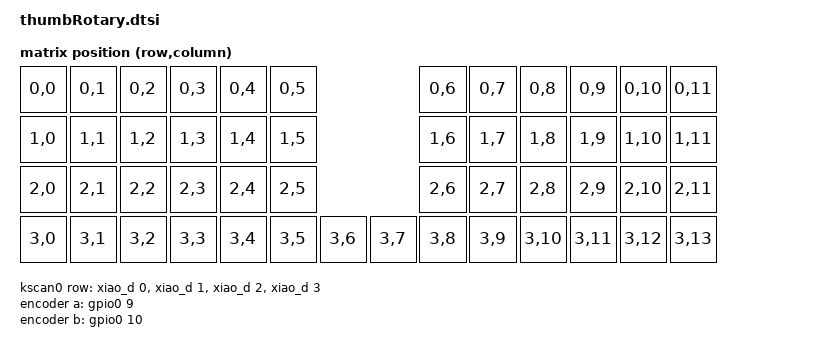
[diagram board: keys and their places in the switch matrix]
 /*
 * Copyright (c) 2020 Pete Johanson
 *
 * SPDX-License-Identifier: MIT
 */

#include <dt-bindings/zmk/matrix_transform.h>

/ {
	chosen {
		zmk,kscan = &kscan0;
		zmk,physical-layout = &physical_layout0;
	};

	default_transform: matrix_transform {
		compatible = "zmk,matrix-transform";
		columns = <14>;
		rows = <4>;
    map = <
      RC(0,0) RC(0,1) RC(0,2) RC(0,3) RC(0,4) RC(0,5)                  RC(0,6) RC(0,7) RC(0,8) RC(0,9) RC(0,10) RC(0,11)
      RC(1,0) RC(1,1) RC(1,2) RC(1,3) RC(1,4) RC(1,5)                  RC(1,6) RC(1,7) RC(1,8) RC(1,9) RC(1,10) RC(1,11)
      RC(2,0) RC(2,1) RC(2,2) RC(2,3) RC(2,4) RC(2,5)                  RC(2,6) RC(2,7) RC(2,8) RC(2,9) RC(2,10) RC(2,11)
      RC(3,0) RC(3,1) RC(3,2) RC(3,3) RC(3,4) RC(3,5)  RC(3,6) RC(3,7) RC(3,8) RC(3,9) RC(3,10) RC(3,11) RC(3,12) RC(3,13)
		>;
	};

	physical_layout0: physical_layout_0 { // First physical layout, use different naming for other layouts
	  compatible = "zmk,physical-layout";
	  display-name = "Default Layout";
	  kscan = <&kscan0>; // Label of the kscan node, optional if all layouts use the same
	  transform = <&default_transform>; // Label of the matrix transform for this layout
	};

	kscan0: kscan {
		compatible = "zmk,kscan-gpio-matrix";
		label = "KSCAN";

		diode-direction = "col2row";
		row-gpios
			= <&xiao_d 0 (GPIO_ACTIVE_HIGH | GPIO_PULL_DOWN)>     //Row0
			, <&xiao_d 1 (GPIO_ACTIVE_HIGH | GPIO_PULL_DOWN)>     //Row1
			, <&xiao_d 2 (GPIO_ACTIVE_HIGH | GPIO_PULL_DOWN)>     //Row2
			, <&xiao_d 3 (GPIO_ACTIVE_HIGH | GPIO_PULL_DOWN)>     //Row3
			;
	};

  encoder: encoder {
    compatible = "alps,ec11";
    a-gpios = <&gpio0 9 (GPIO_ACTIVE_HIGH | GPIO_PULL_UP)>;
    b-gpios = <&gpio0 10 (GPIO_ACTIVE_HIGH | GPIO_PULL_UP)>;
    steps = <24>;
    status = "okay";
  };

  sensors: sensors {
    compatible = "zmk,keymap-sensors";
    sensors = <&encoder>;
    triggers-per-rotation = <10>;
  };
};

&xiao_i2c { status = "disabled"; };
